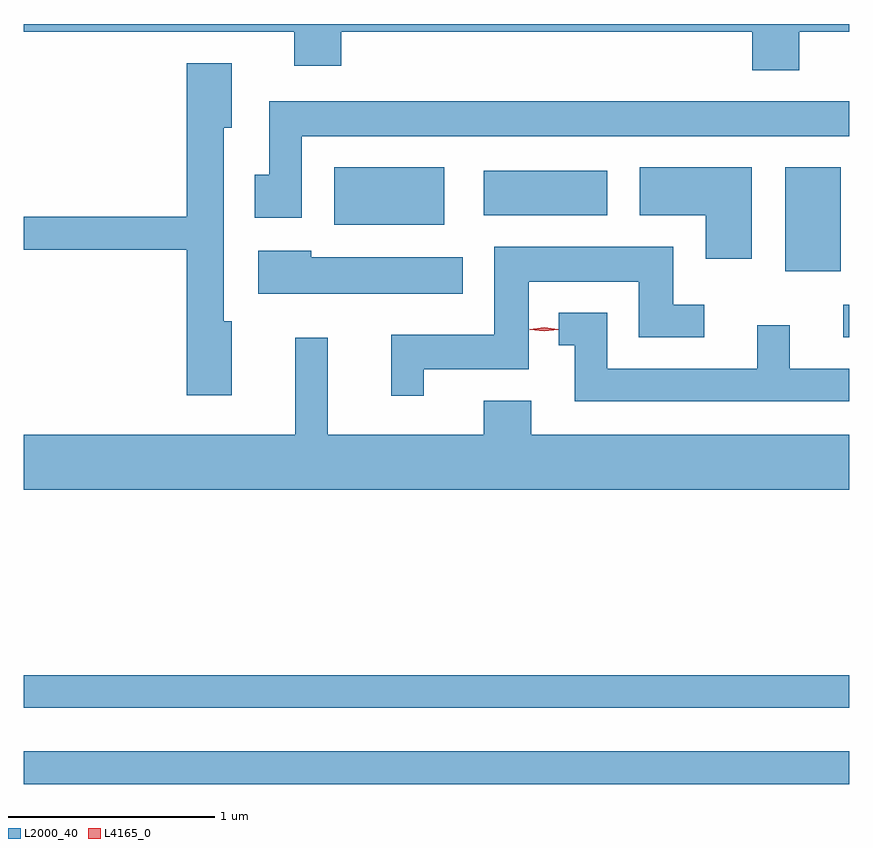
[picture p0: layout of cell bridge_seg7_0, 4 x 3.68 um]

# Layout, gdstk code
import gdstk
lib = gdstk.Library(unit=1e-6, precision=1e-09)
def R(c, l, rs):  # rectangles x0, y0, x1, y1
    for r in rs: c.add(gdstk.rectangle(r[:2], r[2:], *l))
def P(c, l, *ps):  # polygons
    for p in ps: c.add(gdstk.Polygon(p, *l))
L2000_40 = (2000, 40)
L4165_0 = (4165, 0)

bridge_seg7_0 = lib.new_cell('bridge_seg7_0')
R(bridge_seg7_0, L2000_40, [(1681.181,1788.371,1685.181,1788.529), (1681.181,1788.741,1685.181,1788.899), (1685.153,1790.536,1685.181,1790.694), (1684.871,1790.856,1685.139,1791.359), (1682.686,1791.081,1683.219,1791.359), (1683.411,1791.126,1684.009,1791.344)])
P(bridge_seg7_0, L2000_40, [(1684.939,1792.016),(1685.181,1792.016),(1685.181,1792.054),(1681.181,1792.054),(1681.181,1792.016),(1682.491,1792.016),(1682.491,1791.851),(1682.719,1791.851),(1682.719,1792.016),(1684.711,1792.016),(1684.711,1791.831),(1684.939,1791.831)],
  [(1682.189,1790.614),(1682.149,1790.614),(1682.149,1791.551),(1682.189,1791.551),(1682.189,1791.864),(1681.971,1791.864),(1681.971,1791.119),(1681.181,1791.119),(1681.181,1790.961),(1681.971,1790.961),(1681.971,1790.256),(1682.189,1790.256)],
  [(1682.529,1791.511),(1685.181,1791.511),(1685.181,1791.679),(1682.371,1791.679),(1682.371,1791.324),(1682.301,1791.324),(1682.301,1791.116),(1682.529,1791.116)],
  [(1684.709,1791.359),(1684.166,1791.359),(1684.166,1791.126),(1684.486,1791.126),(1684.486,1790.916),(1684.709,1790.916)],
  [(1683.119,1790.381),(1683.629,1790.381),(1683.629,1790.806),(1684.161,1790.806),(1684.161,1790.536),(1684.478,1790.536),(1684.478,1790.694),(1684.329,1790.694),(1684.329,1790.974),(1683.461,1790.974),(1683.461,1790.549),(1682.961,1790.549),(1682.961,1790.253),(1683.119,1790.253)],
  [(1683.309,1790.924),(1682.574,1790.924),(1682.574,1790.954),(1682.316,1790.954),(1682.316,1790.746),(1683.309,1790.746)],
  [(1685.181,1790.384),(1684.894,1790.384),(1684.894,1790.593),(1684.736,1790.593),(1684.736,1790.384),(1684.009,1790.384),(1684.009,1790.654),(1683.773,1790.654),(1683.773,1790.496),(1683.851,1790.496),(1683.851,1790.226),(1685.181,1790.226)],
  [(1685.181,1790.064),(1683.639,1790.064),(1683.639,1790.229),(1683.411,1790.229),(1683.411,1790.064),(1682.654,1790.064),(1682.654,1790.533),(1682.496,1790.533),(1682.496,1790.064),(1681.181,1790.064),(1681.181,1789.796),(1685.181,1789.796)])
P(bridge_seg7_0, L4165_0, [(1683.702,1790.564),(1683.632,1790.573),(1683.632,1790.574),(1683.632,1790.574),(1683.702,1790.584),(1683.771,1790.574),(1683.771,1790.574),(1683.771,1790.573)])

lib.write_gds('bridge_seg7_0.gds')
